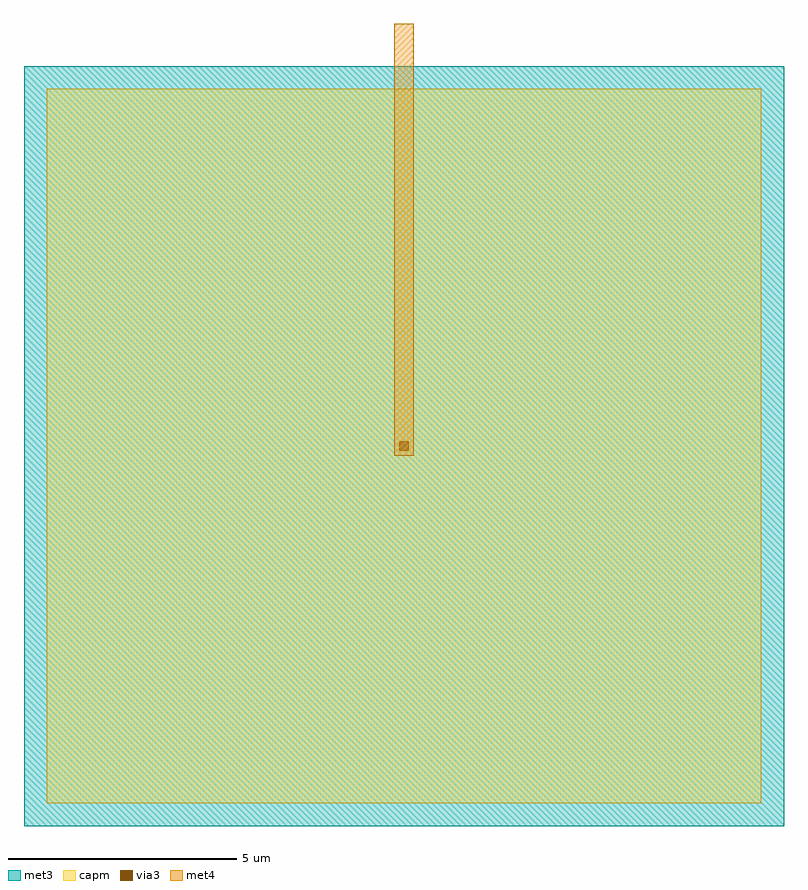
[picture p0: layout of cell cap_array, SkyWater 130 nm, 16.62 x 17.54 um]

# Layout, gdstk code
import gdstk
lib = gdstk.Library(unit=1e-6, precision=1e-09)
def R(c, l, rs):  # rectangles x0, y0, x1, y1
    for r in rs: c.add(gdstk.rectangle(r[:2], r[2:], *l))
met3 = (70, 20)
via3 = (70, 44)
met4 = (71, 20)
capm = (89, 44)

cap_array = lib.new_cell('cap_array')
R(cap_array, met3, [(0,0,16.62,16.62)])
R(cap_array, via3, [(8.21,8.21,8.41,8.41)])
R(cap_array, met4, [(8.1,8.1,8.52,8.52), (8.1,8.52,8.52,17.12), (8.1,17.12,8.52,17.54)])
R(cap_array, capm, [(0.5,0.5,16.12,16.12)])

lib.write_gds('cap_array.gds')
